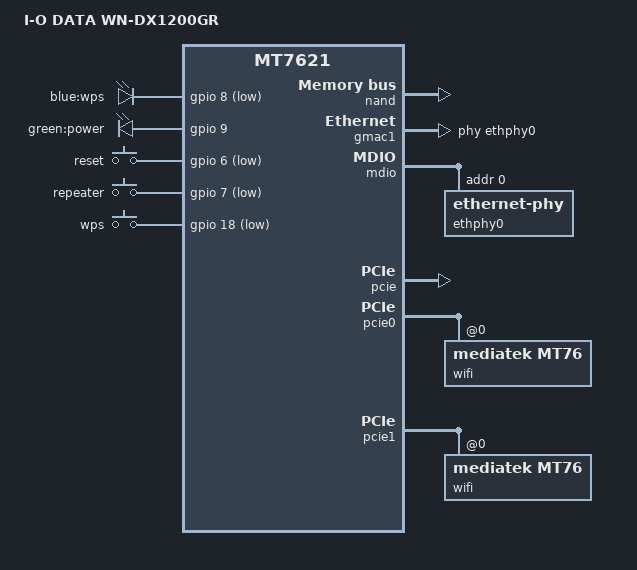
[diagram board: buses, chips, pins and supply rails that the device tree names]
// SPDX-License-Identifier: GPL-2.0-or-later OR MIT

#include "mt7621.dtsi"

#include <dt-bindings/gpio/gpio.h>
#include <dt-bindings/input/input.h>

/ {
	compatible = "iodata,wn-dx1200gr", "mediatek,mt7621-soc";
	model = "I-O DATA WN-DX1200GR";

	aliases {
		led-boot = &led_power;
		led-failsafe = &led_power;
		led-running = &led_power;
		led-upgrade = &led_power;
		label-mac-device = &gmac1;
	};

	leds {
		compatible = "gpio-leds";

		wps {
			label = "blue:wps";
			gpios = <&gpio 8 GPIO_ACTIVE_LOW>;
		};

		led_power: power {
			label = "green:power";
			gpios = <&gpio 9 GPIO_ACTIVE_HIGH>;
		};
	};

	keys {
		compatible = "gpio-keys";

		reset {
			label = "reset";
			gpios = <&gpio 6 GPIO_ACTIVE_LOW>;
			linux,code = <KEY_RESTART>;
		};

		repeater {
			label = "repeater";
			gpios = <&gpio 7 GPIO_ACTIVE_LOW>;
			linux,code = <BTN_0>;
			linux,input-type = <EV_SW>;
		};

		wps {
			label = "wps";
			gpios = <&gpio 18 GPIO_ACTIVE_LOW>;
			linux,code = <KEY_WPS_BUTTON>;
		};
	};
};

&nand {
	status = "okay";

	mediatek,bbt;
	mediatek,bmt-remap-range =
		<0x0000000 0x0800000>,
		<0x3600000 0x4980000>;

	partitions {
		compatible = "fixed-partitions";
		#address-cells = <1>;
		#size-cells = <1>;

		partition@0 {
			label = "u-boot";
			reg = <0x0 0x100000>;
			read-only;
		};

		partition@100000 {
			label = "u-boot-env";
			reg = <0x100000 0x100000>;
			read-only;
		};

		factory: partition@200000 {
			label = "factory";
			reg = <0x200000 0x200000>;
		};

		partition@400000 {
			label = "kernel";
			reg = <0x400000 0x400000>;
		};

		partition@800000 {
			label = "ubi";
			reg = <0x800000 0x2e00000>;
		};

		partition@3600000 {
			label = "Config";
			reg = <0x3600000 0x100000>;
			read-only;
		};

		partition@3700000 {
			label = "firmware_2";
			reg = <0x3700000 0x3200000>;
		};

		partition@6900000 {
			label = "Config_2";
			reg = <0x6900000 0x100000>;
			read-only;
		};

		partition@6a00000 {
			label = "persist";
			reg = <0x6a00000 0x100000>;
		};

		partition@6b00000 {
			label = "idmkey";
			reg = <0x6b00000 0x100000>;
			read-only;
		};

		partition@6c00000 {
			label = "Backup";
			reg = <0x6c00000 0x1380000>;
			read-only;
		};
	};
};

&gmac0 {
	nvmem-cells = <&macaddr_factory_1e000>;
	nvmem-cell-names = "mac-address";
};

&gmac1 {
	status = "okay";
	label = "wan";
	phy-handle = <&ethphy0>;

	nvmem-cells = <&macaddr_factory_1e006>;
	nvmem-cell-names = "mac-address";
};

&mdio {
	ethphy0: ethernet-phy@0 {
		reg = <0>;
	};
};

&switch0 {
	ports {
		port@1 {
			status = "okay";
			label = "lan4";
		};

		port@2 {
			status = "okay";
			label = "lan3";
		};

		port@3 {
			status = "okay";
			label = "lan2";
		};

		port@4 {
			status = "okay";
			label = "lan1";
		};
	};
};

&pcie {
	status = "okay";
};

&pcie0 {
	wifi@0,0 {
		compatible = "mediatek,mt76";
		reg = <0x0000 0 0 0 0>;

		mediatek,mtd-eeprom = <&factory 0x0>;
		ieee80211-freq-limit = <2400000 2500000>;
	};
};

&pcie1 {
	wifi@0,0 {
		compatible = "mediatek,mt76";
		reg = <0x0000 0 0 0 0>;

		mediatek,mtd-eeprom = <&factory 0x8000>;
		ieee80211-freq-limit = <5000000 6000000>;
	};
};

&state_default {
	gpio {
		groups = "uart2", "uart3", "wdt";
		function = "gpio";
	};
};

&xhci {
	status = "disabled";
};

&factory {
	compatible = "nvmem-cells";
	#address-cells = <1>;
	#size-cells = <1>;

	macaddr_factory_1e000: macaddr@1e000 {
		reg = <0x1e000 0x6>;
	};

	macaddr_factory_1e006: macaddr@1e006 {
		reg = <0x1e006 0x6>;
	};
};
